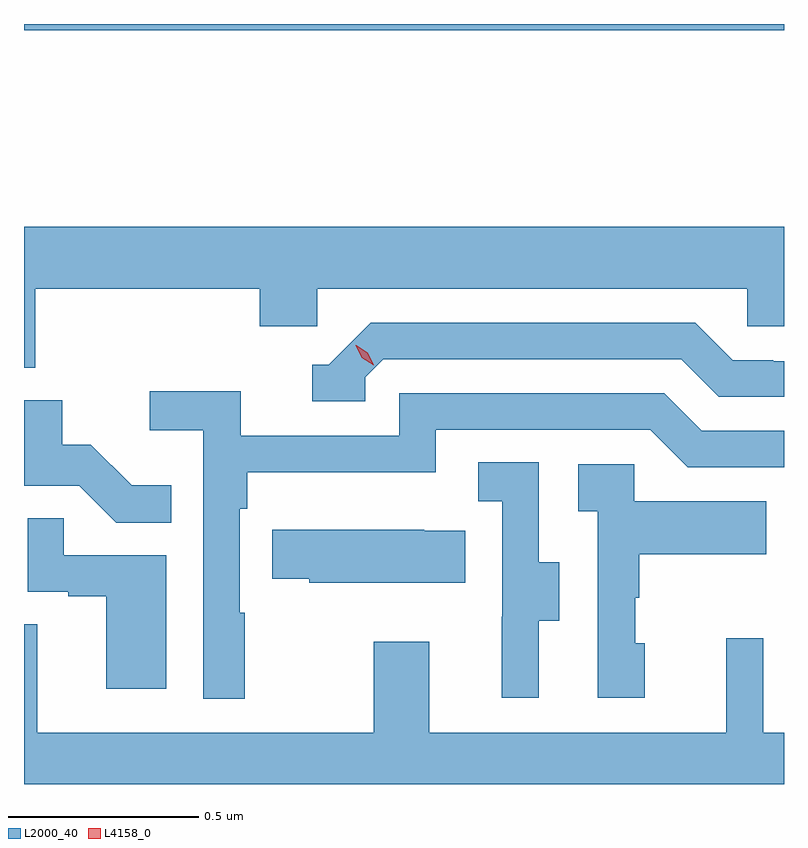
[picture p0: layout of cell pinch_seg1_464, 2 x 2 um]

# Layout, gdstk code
import gdstk
lib = gdstk.Library(unit=1e-6, precision=1e-09)
def R(c, l, rs):  # rectangles x0, y0, x1, y1
    for r in rs: c.add(gdstk.rectangle(r[:2], r[2:], *l))
def P(c, l, *ps):  # polygons
    for p in ps: c.add(gdstk.Polygon(p, *l))
L2000_40 = (2000, 40)
L4158_0 = (4158, 0)

pinch_seg1_464 = lib.new_cell('pinch_seg1_464')
R(pinch_seg1_464, L2000_40, [(1008.95,507.124,1010.95,507.141)])
P(pinch_seg1_464, L2000_40, [(1008.98,506.444),(1009.571,506.444),(1009.571,506.346),(1009.722,506.346),(1009.722,506.444),(1010.853,506.444),(1010.853,506.346),(1010.95,506.346),(1010.95,506.608),(1008.95,506.608),(1008.95,506.236),(1008.98,506.236)],
  [(1009.848,506.211),(1009.896,506.259),(1010.679,506.259),(1010.778,506.16),(1010.95,506.16),(1010.95,506.253),(1010.922,506.253),(1010.922,506.256),(1010.815,506.256),(1010.716,506.355),(1009.863,506.355),(1009.752,506.244),(1009.709,506.244),(1009.709,506.148),(1009.848,506.148)],
  [(1009.531,505.592),(1009.518,505.592),(1009.518,505.865),(1009.538,505.865),(1009.538,505.961),(1010.034,505.961),(1010.034,506.073),(1010.598,506.073),(1010.697,505.974),(1010.95,505.974),(1010.95,506.07),(1010.734,506.07),(1010.635,506.169),(1009.938,506.169),(1009.938,506.058),(1009.52,506.058),(1009.52,506.174),(1009.281,506.174),(1009.281,506.072),(1009.422,506.072),(1009.422,505.365),(1009.531,505.365)],
  [(1009.337,505.927),(1009.233,505.927),(1009.126,506.034),(1009.05,506.034),(1009.05,506.151),(1008.95,506.151),(1008.95,506.055),(1008.951,506.055),(1008.951,505.926),(1009.095,505.926),(1009.193,505.828),(1009.337,505.828)],
  [(1010.305,505.57),(1010.359,505.57),(1010.359,505.725),(1010.304,505.725),(1010.304,505.988),(1010.145,505.988),(1010.145,505.885),(1010.208,505.885),(1010.208,505.581),(1010.207,505.581),(1010.207,505.368),(1010.305,505.368)],
  [(1010.584,505.512),(1010.559,505.512),(1010.559,505.631),(1010.569,505.631),(1010.569,505.745),(1010.903,505.745),(1010.903,505.885),(1010.556,505.885),(1010.556,505.983),(1010.409,505.983),(1010.409,505.859),(1010.46,505.859),(1010.46,505.368),(1010.584,505.368)],
  [(1009.324,505.743),(1009.055,505.743),(1009.055,505.841),(1008.96,505.841),(1008.96,505.647),(1009.067,505.647),(1009.067,505.635),(1009.166,505.635),(1009.166,505.392),(1009.324,505.392)],
  [(1010.111,505.807),(1010.003,505.807),(1010.003,505.81),(1009.603,505.81),(1009.603,505.681),(1009.701,505.681),(1009.701,505.67),(1010.111,505.67)],
  [(1010.95,505.276),(1010.895,505.276),(1010.895,505.525),(1010.798,505.525),(1010.798,505.276),(1010.017,505.276),(1010.017,505.516),(1009.87,505.516),(1009.87,505.276),(1008.985,505.276),(1008.985,505.562),(1008.95,505.562),(1008.95,505.141),(1010.95,505.141)])
P(pinch_seg1_464, L4158_0, [(1009.87,506.243),(1009.839,506.263),(1009.823,506.295),(1009.823,506.296),(1009.824,506.296),(1009.854,506.276),(1009.87,506.244),(1009.87,506.243)])

lib.write_gds('pinch_seg1_464.gds')
